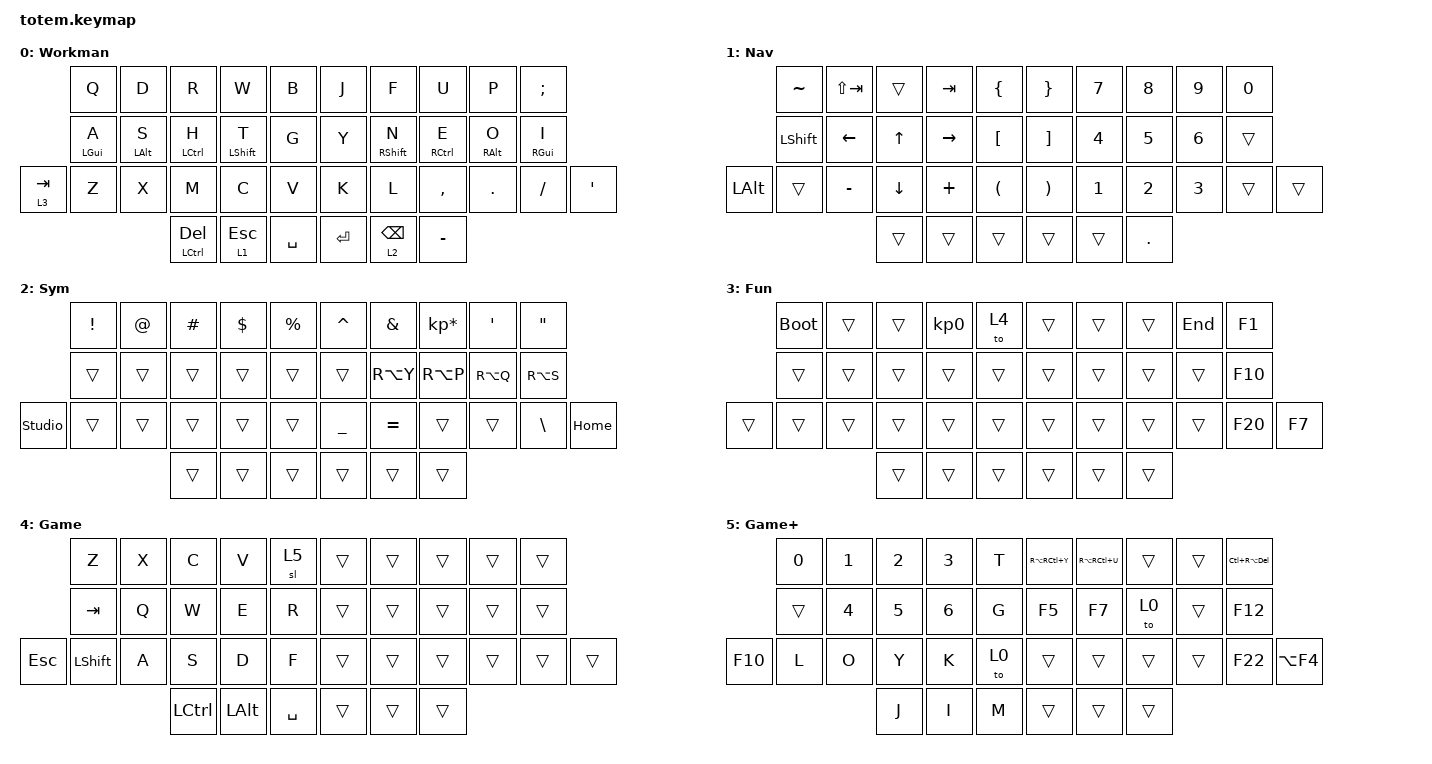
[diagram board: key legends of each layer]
//
//                                                        ▀▀▀▀▀     ▀▀▀▀▀          ▀▀█▀▀
//                                                        ▄▀▀▀▄  ▄  ▄▀▀▀▄  ▄  ▄▀▀▀▄  █  ▄▀▀▀▄
//                                                        █   █  █  █   █  █  █   █  █  █   █
//                                                         ▀▀▀   █   ▀▀▀   █   ▀▀▀   ▀   ▀▀▀
//                                                               █      ▄▄▄█▄▄▄    █   █  
//                                                               ▀      █  █  █     █▄█
//                                                             ▀▀▀▀▀    █  █  █      ▀
//                                                                      ▀  ▀  ▀
//
// ▄▄▄▄▄▄▄▄▄▄▄▄▄▄▄▄▄▄▄▄▄▄▄▄▄▄▄▄▄▄▄▄▄▄▄▄▄▄▄▄▄▄▄▄▄▄▄▄▄▄▄▄▄▄▄▄▄▄▄▄▄▄▄▄▄▄▄▄▄▄▄▄▄▄▄▄▄▄▄▄▄▄▄▄▄▄▄▄▄▄▄▄▄▄▄▄▄▄▄▄▄▄▄▄▄▄▄▄▄▄▄▄▄▄▄▄▄▄▄▄▄▄▄▄▄▄▄▄▄▄▄▄▄▄▄▄▄▄▄▄▄▄▄▄▄▄▄▄▄

#include <behaviors.dtsi>
#include <dt-bindings/zmk/keys.h>

#define Base        0
#define Nav         1
#define Sym         2
#define Fun         3
#define Game        4
#define Gameplus    5

&mt {
    quick-tap-ms = <100>;
    global-quick-tap;
    flavor = "tap-preferred";
    tapping-term-ms = <170>;
};

&lt {
    tapping-term-ms = <240>;
    flavor = "balanced";
    quick-tap-ms = <150>;
};

/ {
    behaviors {
        hm: homerow_mods {
            compatible = "zmk,behavior-hold-tap";
            label = "HOMEROW_MODS";
            #binding-cells = <2>;
            flavor = "tap-preferred";
            tapping-term-ms = <200>;
            quick-tap-ms = <125>;
            global-quick-tap;
            bindings = <&kp>, <&kp>;
        };
    };

    combos { compatible = "zmk,combos"; };

    keymap {
        compatible = "zmk,keymap";

        Base {
            display-name = "Workman";
            bindings = <
           &kp Q       &kp D       &kp R          &kp W         &kp B        &kp J    &kp F        &kp U        &kp P       &kp SEMICOLON
           &hm LGUI A  &hm LALT S  &hm LCTRL H    &hm LSHIFT T  &kp G        &kp Y    &hm RSHFT N  &hm RCTRL E  &hm RALT O  &hm RGUI I
&lt 3 TAB  &kp Z       &kp X       &kp M          &kp C         &kp V        &kp K    &kp L        &kp COMMA    &kp DOT     &kp SLASH      &kp APOSTROPHE
                                   &mt LCTRL DEL  &lt 1 ESC     &kp SPACE    &kp RET  &lt 2 BSPC   &kp MINUS
            >;
        };

        Nav {
            display-name = "Nav";
            bindings = <
              &kp TILDE       &kp LS(TAB)  &trans        &kp TAB    &kp LBRC    &kp RBRC  &kp NUMBER_7  &kp NUMBER_8  &kp NUMBER_9  &kp NUMBER_0
              &kp LEFT_SHIFT  &kp LEFT     &kp UP_ARROW  &kp RIGHT  &kp LBKT    &kp RBKT  &kp NUMBER_4  &kp NUMBER_5  &kp NUMBER_6  &trans
&kp LEFT_ALT  &trans          &kp MINUS    &kp DOWN      &kp PLUS   &kp LPAR    &kp RPAR  &kp NUMBER_1  &kp NUMBER_2  &kp NUMBER_3  &trans        &trans
                                           &trans        &trans     &trans      &trans    &trans        &kp DOT
            >;
        };

        Sym {
            display-name = "Sym";
            bindings = <
                &kp EXCL  &kp AT  &kp HASH  &kp DOLLAR  &kp PERCENT    &kp CARET  &kp AMPERSAND  &kp KP_ASTERISK  &kp SQT    &kp DQT
                &trans    &trans  &trans    &trans      &trans         &trans     &kp RA(Y)      &kp RA(P)        &kp RA(Q)  &kp RA(S)
&studio_unlock  &trans    &trans  &trans    &trans      &trans         &kp UNDER  &kp EQUAL      &trans           &trans     &kp BACKSLASH  &kp HOME
                                  &trans    &trans      &trans         &trans     &trans         &trans
            >;
        };

        Fun {
            display-name = "Fun";
            bindings = <
        &bootloader  &trans  &trans  &kp KP_NUMBER_0  &to 4     &trans  &trans  &trans  &kp END  &kp F1
        &trans       &trans  &trans  &trans           &trans    &trans  &trans  &trans  &trans   &kp F10
&trans  &trans       &trans  &trans  &trans           &trans    &trans  &trans  &trans  &trans   &kp F20  &kp F7
                             &trans  &trans           &trans    &trans  &trans  &trans
            >;
        };

        Gaming {
            display-name = "Game";
            bindings = <
            &kp Z           &kp X  &kp C      &kp V         &sl 5        &trans  &trans  &trans  &trans  &trans
            &kp TAB         &kp Q  &kp W      &kp E         &kp R        &trans  &trans  &trans  &trans  &trans
&kp ESCAPE  &kp LEFT_SHIFT  &kp A  &kp S      &kp D         &kp F        &trans  &trans  &trans  &trans  &trans  &trans
                                   &kp LCTRL  &kp LEFT_ALT  &kp SPACE    &trans  &trans  &trans
            >;
        };

        Gaming+ {
            display-name = "Game+";
            bindings = <
         &kp N0  &kp NUMBER_1  &kp NUMBER_2  &kp NUMBER_3  &kp T    &kp RA(RC(Y))  &kp RA(RC(U))  &trans  &trans  &kp LC(RA(DEL))
         &trans  &kp NUMBER_4  &kp N5        &kp NUMBER_6  &kp G    &kp F5         &kp F7         &to 0   &trans  &kp F12
&kp F10  &kp L   &kp O         &kp Y         &kp K         &to 0    &trans         &trans         &trans  &trans  &kp F22          &kp LA(F4)
                               &kp J         &kp I         &kp M    &trans         &trans         &trans
            >;
        };
    };
};
